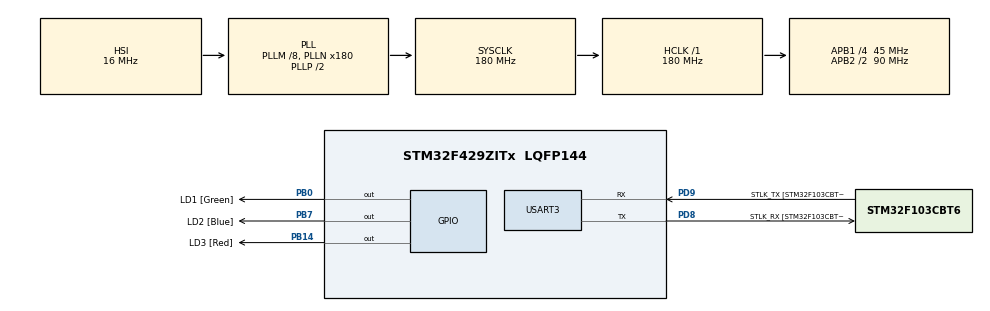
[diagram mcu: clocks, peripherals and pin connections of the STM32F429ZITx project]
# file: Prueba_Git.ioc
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Mcu.Family=STM32F4
Mcu.Name=STM32F429ZITx
Mcu.Package=LQFP144
NVIC.PriorityGroup=NVIC_PRIORITYGROUP_4
PA1.GPIO_Label=RMII_REF_CLK [LAN8742A-CZ-TR_REFCLK0]
PA1.Signal=ETH_REF_CLK
PA10.GPIO_Label=USB_ID
PA10.Signal=USB_OTG_FS_ID
PA11.GPIO_Label=USB_DM
PA11.Signal=USB_OTG_FS_DM
PA12.GPIO_Label=USB_DP
PA12.Signal=USB_OTG_FS_DP
PA13.GPIO_Label=TMS
PA13.Signal=SYS_JTMS-SWDIO
PA14.GPIO_Label=TCK
PA14.Signal=SYS_JTCK-SWCLK
PA2.GPIO_Label=RMII_MDIO [LAN8742A-CZ-TR_MDIO]
PA2.Signal=ETH_MDIO
PA7.GPIO_Label=RMII_CRS_DV [LAN8742A-CZ-TR_CRS_DV]
PA7.Signal=ETH_CRS_DV
PA8.GPIO_Label=USB_SOF [TP1]
PA8.Signal=USB_OTG_FS_SOF
PA9.GPIO_Label=USB_VBUS
PA9.Signal=USB_OTG_FS_VBUS
PB0.GPIO_Label=LD1 [Green]
PB0.Signal=GPIO_Output
PB14.GPIO_Label=LD3 [Red]
PB14.Signal=GPIO_Output
PB7.GPIO_Label=LD2 [Blue]
PB7.Signal=GPIO_Output
PC1.GPIO_Label=RMII_MDC [LAN8742A-CZ-TR_MDC]
PC1.Signal=ETH_MDC
PC14/OSC32_IN.Signal=RCC_OSC32_IN
PC15/OSC32_OUT.Signal=RCC_OSC32_OUT
PC4.GPIO_Label=RMII_RXD0 [LAN8742A-CZ-TR_RXD0]
PC4.Signal=ETH_RXD0
PC5.GPIO_Label=RMII_RXD1 [LAN8742A-CZ-TR_RXD1]
PC5.Signal=ETH_RXD1
PD8.GPIO_Label=STLK_RX [STM32F103CBT6_PA3]
PD8.Mode=Asynchronous
PD8.Signal=USART3_TX
PD9.GPIO_Label=STLK_TX [STM32F103CBT6_PA2]
PD9.Mode=Asynchronous
PD9.Signal=USART3_RX
PG11.GPIO_Label=RMII_TX_EN [LAN8742A-CZ-TR_TXEN]
PG11.Signal=ETH_TX_EN
PG13.GPIO_Label=RMII_TXD0 [LAN8742A-CZ-TR_TXD0]
PG13.Signal=ETH_TXD0
PH0/OSC_IN.GPIO_Label=MCO [STM32F103CBT6_PA8]
PH0/OSC_IN.Mode=HSE-External-Oscillator
PH0/OSC_IN.Signal=RCC_OSC_IN
PH1/OSC_OUT.Mode=HSE-External-Oscillator
PH1/OSC_OUT.Signal=RCC_OSC_OUT
ProjectManager.HeapSize=0x200
ProjectManager.StackSize=0x400
ProjectManager.TargetToolchain=STM32CubeIDE
RCC.48MHZClocksFreq_Value=90000000
RCC.AHBFreq_Value=180000000
RCC.APB1CLKDivider=RCC_HCLK_DIV4
RCC.APB1Freq_Value=45000000
RCC.APB1TimFreq_Value=90000000
RCC.APB2CLKDivider=RCC_HCLK_DIV2
RCC.APB2Freq_Value=90000000
RCC.APB2TimFreq_Value=180000000
RCC.CortexFreq_Value=180000000
RCC.HCLKFreq_Value=180000000
RCC.HSE_VALUE=8000000
RCC.HSI_VALUE=16000000
RCC.LSE_VALUE=32768
RCC.PLLM=8
RCC.PLLMUL=RCC_PLL_MUL9
RCC.PLLN=180
RCC.PRESCALERUSB=RCC_USBCLKSOURCE_PLL_DIV1_5
RCC.SYSCLKFreq_VALUE=180000000
RCC.SYSCLKSource=RCC_SYSCLKSOURCE_PLLCLK
RCC.SYSCLKSourceVirtual=RCC_SYSCLKSOURCE_PLLCLK
RCC.USBFreq_Value=48000000
RCC.VCOOutputFreq_Value=360000000
USART3.VirtualMode=VM_ASYNC
board=NUCLEO-F429ZI

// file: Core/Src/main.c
/* USER CODE BEGIN Header */
/**
 ******************************************************************************
 * @file           : main.c
 * @brief          : Main program body
 ******************************************************************************
 * @attention
 *
 * Copyright (c) 2023 STMicroelectronics.
 * All rights reserved.
 *
 * This software is licensed under terms that can be found in the LICENSE file
 * in the root directory of this software component.
 * If no LICENSE file comes with this software, it is provided AS-IS.
 *
 ******************************************************************************
 */
/* USER CODE END Header */
#include "main.h"

/* USER CODE BEGIN Includes */
#include "app_main.h"
/* USER CODE END Includes */

UART_HandleTypeDef huart3;

void SystemClock_Config(void);
static void MX_GPIO_Init(void);
static void MX_USART3_UART_Init(void);

int main(void)
{

	/* MCU Configuration--------------------------------------------------------*/

	/* Reset of all peripherals, Initializes the Flash interface and the Systick. */
	HAL_Init();

	/* Configure the system clock */
	SystemClock_Config();

	/* Initialize all configured peripherals */
	MX_GPIO_Init();
	MX_USART3_UART_Init();
	/* USER CODE BEGIN 2 */
	char var = 0;
	/* USER CODE END 2 */

	/* Infinite loop */
	while (1)
	{

		/* USER CODE BEGIN 3 */
		//app_main();
		switch(var){
			case 1:
				HAL_GPIO_TogglePin(LD1_GPIO_Port, LD1_Pin);
				HAL_Delay(100);
				var++;
				break;
			case 2:
				HAL_GPIO_TogglePin(LD1_GPIO_Port, LD1_Pin);
				HAL_Delay(100);
				var++;
				break;
			default:
				var++;
				break;
		}
		app_main();
	}
	/* USER CODE END 3 */
}

void SystemClock_Config(void)
{
	RCC_OscInitTypeDef RCC_OscInitStruct = {0};
	RCC_ClkInitTypeDef RCC_ClkInitStruct = {0};

	/** Configure the main internal regulator output voltage
	 */
	__HAL_RCC_PWR_CLK_ENABLE();
	__HAL_PWR_VOLTAGESCALING_CONFIG(PWR_REGULATOR_VOLTAGE_SCALE1);

	/** Initializes the RCC Oscillators according to the specified parameters
	 * in the RCC_OscInitTypeDef structure.
	 */
	RCC_OscInitStruct.OscillatorType = RCC_OSCILLATORTYPE_HSI;
	RCC_OscInitStruct.HSIState = RCC_HSI_ON;
	RCC_OscInitStruct.HSICalibrationValue = RCC_HSICALIBRATION_DEFAULT;
	RCC_OscInitStruct.PLL.PLLState = RCC_PLL_ON;
	RCC_OscInitStruct.PLL.PLLSource = RCC_PLLSOURCE_HSI;
	RCC_OscInitStruct.PLL.PLLM = 8;
	RCC_OscInitStruct.PLL.PLLN = 180;
	RCC_OscInitStruct.PLL.PLLP = RCC_PLLP_DIV2;
	RCC_OscInitStruct.PLL.PLLQ = 4;
	if (HAL_RCC_OscConfig(&RCC_OscInitStruct) != HAL_OK)
	{
		Error_Handler();
	}

	/** Activate the Over-Drive mode
	 */
	if (HAL_PWREx_EnableOverDrive() != HAL_OK)
	{
		Error_Handler();
	}

	/** Initializes the CPU, AHB and APB buses clocks
	 */
	RCC_ClkInitStruct.ClockType = RCC_CLOCKTYPE_HCLK|RCC_CLOCKTYPE_SYSCLK
			|RCC_CLOCKTYPE_PCLK1|RCC_CLOCKTYPE_PCLK2;
	RCC_ClkInitStruct.SYSCLKSource = RCC_SYSCLKSOURCE_PLLCLK;
	RCC_ClkInitStruct.AHBCLKDivider = RCC_SYSCLK_DIV1;
	RCC_ClkInitStruct.APB1CLKDivider = RCC_HCLK_DIV4;
	RCC_ClkInitStruct.APB2CLKDivider = RCC_HCLK_DIV2;

	if (HAL_RCC_ClockConfig(&RCC_ClkInitStruct, FLASH_LATENCY_5) != HAL_OK)
	{
		Error_Handler();
	}
}

static void MX_USART3_UART_Init(void)
{

	huart3.Instance = USART3;
	huart3.Init.BaudRate = 115200;
	huart3.Init.WordLength = UART_WORDLENGTH_8B;
	huart3.Init.StopBits = UART_STOPBITS_1;
	huart3.Init.Parity = UART_PARITY_NONE;
	huart3.Init.Mode = UART_MODE_TX_RX;
	huart3.Init.HwFlowCtl = UART_HWCONTROL_NONE;
	huart3.Init.OverSampling = UART_OVERSAMPLING_16;
	if (HAL_UART_Init(&huart3) != HAL_OK)
	{
		Error_Handler();
	}

}

static void MX_GPIO_Init(void)
{
	GPIO_InitTypeDef GPIO_InitStruct = {0};

	/* GPIO Ports Clock Enable */
	__HAL_RCC_GPIOC_CLK_ENABLE();
	__HAL_RCC_GPIOH_CLK_ENABLE();
	__HAL_RCC_GPIOA_CLK_ENABLE();
	__HAL_RCC_GPIOB_CLK_ENABLE();
	__HAL_RCC_GPIOD_CLK_ENABLE();
	__HAL_RCC_GPIOG_CLK_ENABLE();

	/*Configure GPIO pin Output Level */
	HAL_GPIO_WritePin(GPIOB, LD1_Pin|LD3_Pin|LD2_Pin, GPIO_PIN_RESET);

	/*Configure GPIO pins : RMII_MDC_Pin RMII_RXD0_Pin RMII_RXD1_Pin */
	GPIO_InitStruct.Pin = RMII_MDC_Pin|RMII_RXD0_Pin|RMII_RXD1_Pin;
	GPIO_InitStruct.Mode = GPIO_MODE_AF_PP;
	GPIO_InitStruct.Pull = GPIO_NOPULL;
	GPIO_InitStruct.Speed = GPIO_SPEED_FREQ_VERY_HIGH;
	GPIO_InitStruct.Alternate = GPIO_AF11_ETH;
	HAL_GPIO_Init(GPIOC, &GPIO_InitStruct);

	/*Configure GPIO pins : RMII_REF_CLK_Pin RMII_MDIO_Pin RMII_CRS_DV_Pin */
	GPIO_InitStruct.Pin = RMII_REF_CLK_Pin|RMII_MDIO_Pin|RMII_CRS_DV_Pin;
	GPIO_InitStruct.Mode = GPIO_MODE_AF_PP;
	GPIO_InitStruct.Pull = GPIO_NOPULL;
	GPIO_InitStruct.Speed = GPIO_SPEED_FREQ_VERY_HIGH;
	GPIO_InitStruct.Alternate = GPIO_AF11_ETH;
	HAL_GPIO_Init(GPIOA, &GPIO_InitStruct);

	/*Configure GPIO pins : LD1_Pin LD3_Pin LD2_Pin */
	GPIO_InitStruct.Pin = LD1_Pin|LD3_Pin|LD2_Pin;
	GPIO_InitStruct.Mode = GPIO_MODE_OUTPUT_PP;
	GPIO_InitStruct.Pull = GPIO_NOPULL;
	GPIO_InitStruct.Speed = GPIO_SPEED_FREQ_LOW;
	HAL_GPIO_Init(GPIOB, &GPIO_InitStruct);

	/*Configure GPIO pins : USB_SOF_Pin USB_ID_Pin USB_DM_Pin USB_DP_Pin */
	GPIO_InitStruct.Pin = USB_SOF_Pin|USB_ID_Pin|USB_DM_Pin|USB_DP_Pin;
	GPIO_InitStruct.Mode = GPIO_MODE_AF_PP;
	GPIO_InitStruct.Pull = GPIO_NOPULL;
	GPIO_InitStruct.Speed = GPIO_SPEED_FREQ_VERY_HIGH;
	GPIO_InitStruct.Alternate = GPIO_AF10_OTG_FS;
	HAL_GPIO_Init(GPIOA, &GPIO_InitStruct);

	/*Configure GPIO pin : USB_VBUS_Pin */
	GPIO_InitStruct.Pin = USB_VBUS_Pin;
	GPIO_InitStruct.Mode = GPIO_MODE_INPUT;
	GPIO_InitStruct.Pull = GPIO_NOPULL;
	HAL_GPIO_Init(USB_VBUS_GPIO_Port, &GPIO_InitStruct);

	/*Configure GPIO pins : RMII_TX_EN_Pin RMII_TXD0_Pin */
	GPIO_InitStruct.Pin = RMII_TX_EN_Pin|RMII_TXD0_Pin;
	GPIO_InitStruct.Mode = GPIO_MODE_AF_PP;
	GPIO_InitStruct.Pull = GPIO_NOPULL;
	GPIO_InitStruct.Speed = GPIO_SPEED_FREQ_VERY_HIGH;
	GPIO_InitStruct.Alternate = GPIO_AF11_ETH;
	HAL_GPIO_Init(GPIOG, &GPIO_InitStruct);

}

void Error_Handler(void)
{
	__disable_irq();
	while (1)
	{
	}
}
